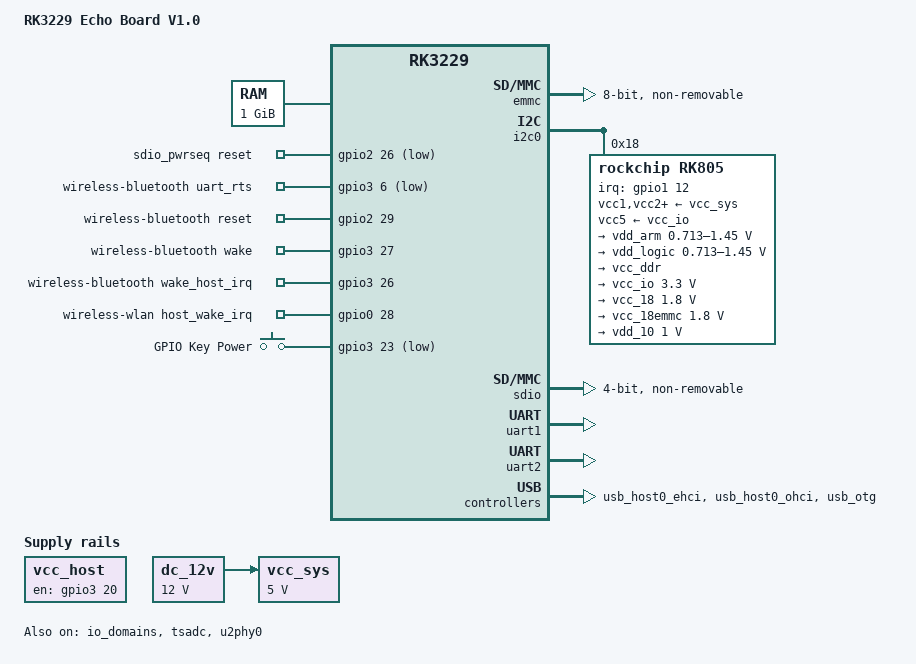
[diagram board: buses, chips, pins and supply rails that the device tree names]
/*
 * Copyright (c) 2017 Fuzhou Rockchip Electronics Co., Ltd
 *
 * This file is dual-licensed: you can use it either under the terms
 * of the GPL or the X11 license, at your option. Note that this dual
 * licensing only applies to this file, and not this project as a
 * whole.
 *
 *  a) This file is free software; you can redistribute it and/or
 *     modify it under the terms of the GNU General Public License as
 *     published by the Free Software Foundation; either version 2 of the
 *     License, or (at your option) any later version.
 *
 *     This file is distributed in the hope that it will be useful,
 *     but WITHOUT ANY WARRANTY; without even the implied warranty of
 *     MERCHANTABILITY or FITNESS FOR A PARTICULAR PURPOSE.  See the
 *     GNU General Public License for more details.
 *
 *  Or, alternatively,
 *
 *  b) Permission is hereby granted, free of charge, to any person
 *     obtaining a copy of this software and associated documentation
 *     files (the "Software"), to deal in the Software without
 *     restriction, including without limitation the rights to use,
 *     copy, modify, merge, publish, distribute, sublicense, and/or
 *     sell copies of the Software, and to permit persons to whom the
 *     Software is furnished to do so, subject to the following
 *     conditions:
 *
 *     The above copyright notice and this permission notice shall be
 *     included in all copies or substantial portions of the Software.
 *
 *     THE SOFTWARE IS PROVIDED "AS IS", WITHOUT WARRANTY OF ANY KIND,
 *     EXPRESS OR IMPLIED, INCLUDING BUT NOT LIMITED TO THE WARRANTIES
 *     OF MERCHANTABILITY, FITNESS FOR A PARTICULAR PURPOSE AND
 *     NONINFRINGEMENT. IN NO EVENT SHALL THE AUTHORS OR COPYRIGHT
 *     HOLDERS BE LIABLE FOR ANY CLAIM, DAMAGES OR OTHER LIABILITY,
 *     WHETHER IN AN ACTION OF CONTRACT, TORT OR OTHERWISE, ARISING
 *     FROM, OUT OF OR IN CONNECTION WITH THE SOFTWARE OR THE USE OR
 *     OTHER DEALINGS IN THE SOFTWARE.
 */

/dts-v1/;

#include "rk3229.dtsi"

/ {
	model = "RK3229 Echo Board V1.0";
	compatible = "rockchip,rk3229-echo", "rockchip,rk3229";

	chosen {
		bootargs = "earlycon=uart8250,mmio32,0x11030000";
	};

	memory@60000000 {
		device_type = "memory";
		reg = <0x60000000 0x40000000>;
	};

	psci {
		compatible = "arm,psci-1.0";
		method = "smc";
	};

	sdio_pwrseq: sdio-pwrseq {
		compatible = "mmc-pwrseq-simple";
		clocks = <&rk805 1>;
		clock-names = "ext_clock";
		pinctrl-names = "default";
		pinctrl-0 = <&wifi_enable_h>;

		/*
		 * On the module itself this is one of these (depending
		 * on the actual card populated):
		 * - SDIO_RESET_L_WL_REG_ON
		 * - PDN (power down when low)
		 */
		reset-gpios = <&gpio2 26 GPIO_ACTIVE_LOW>; /* GPIO2_D2 */
	};

	vcc_host: vcc-host-regulator {
		compatible = "regulator-fixed";
		enable-active-high;
		gpio = <&gpio3 20 GPIO_ACTIVE_HIGH>;
		pinctrl-names = "default";
		pinctrl-0 = <&host_vbus_drv>;
		regulator-name = "vcc_host";
		regulator-always-on;
		regulator-boot-on;
	};

	wireless-bluetooth {
		compatible = "bluetooth-platdata";
		clocks = <&rk805 1>;
		clock-names = "ext_clock";
		uart_rts_gpios = <&gpio3 6 GPIO_ACTIVE_LOW>;
		pinctrl-names = "default", "rts_gpio";
		pinctrl-0 = <&uart11_rts>;
		pinctrl-1 = <&uart11_rts_gpio>;
		BT,reset_gpio    = <&gpio2 29 GPIO_ACTIVE_HIGH>;
		BT,wake_gpio     = <&gpio3 27 GPIO_ACTIVE_HIGH>;
		BT,wake_host_irq = <&gpio3 26 GPIO_ACTIVE_HIGH>;
		status = "okay";
	};

	wireless-wlan {
		compatible = "wlan-platdata";
		rockchip,grf = <&grf>;
		wifi_chip_type = "ap6335";
		sdio_vref = <3300>;
		WIFI,host_wake_irq = <&gpio0 28 GPIO_ACTIVE_HIGH>;
		status = "okay";
	};

	gpio_keys {
		compatible = "gpio-keys";
		#address-cells = <1>;
		#size-cells = <0>;
		autorepeat;

		pinctrl-names = "default";
		pinctrl-0 = <&pwr_key>;

		power_key: power-key {
			label = "GPIO Key Power";
			gpios = <&gpio3 23 GPIO_ACTIVE_LOW>;
			linux,code = <116>;
			debounce-interval = <100>;
			wakeup-source;
		};
	};

	dc_12v: dc-12v {
		compatible = "regulator-fixed";
		regulator-name = "dc_12v";
		regulator-always-on;
		regulator-boot-on;
		regulator-min-microvolt = <12000000>;
		regulator-max-microvolt = <12000000>;
	};

	vcc_sys: vcc-sys {
		compatible = "regulator-fixed";
		regulator-name = "vcc_sys";
		regulator-always-on;
		regulator-boot-on;
		regulator-min-microvolt = <5000000>;
		regulator-max-microvolt = <5000000>;
		vin-supply = <&dc_12v>;
	};
};

&cpu0 {
	cpu-supply = <&vdd_arm>;
	enable-method = "psci";
};

&cpu1 {
	enable-method = "psci";
};

&cpu2 {
	enable-method = "psci";
};

&cpu3 {
	enable-method = "psci";
};

&emmc {
	broken-cd;
	bus-width = <8>;
	cap-mmc-highspeed;
	supports-emmc;
	disable-wp;
	non-removable;
	num-slots = <1>;
	/delete-property/ default-sample-phase;
	/delete-property/ pinctrl-names;
	/delete-property/ pinctrl-0;
	status = "okay";
};

&i2c0 {
	status = "okay";

	rk805: rk805@18 {
		compatible = "rockchip,rk805";
		reg = <0x18>;
		interrupt-parent = <&gpio1>;
		interrupts = <12 IRQ_TYPE_LEVEL_LOW>;
		pinctrl-names = "default";
		pinctrl-0 = <&pmic_int_l>;
		rockchip,system-power-controller;
		wakeup-source;
		gpio-controller;
		#gpio-cells = <2>;
		#clock-cells = <1>;
		clock-output-names = "xin32k", "rk805-clkout2";

		vcc1-supply = <&vcc_sys>;
		vcc2-supply = <&vcc_sys>;
		vcc3-supply = <&vcc_sys>;
		vcc4-supply = <&vcc_sys>;
		vcc5-supply = <&vcc_io>;
		vcc6-supply = <&vcc_sys>;

		regulators {
			vdd_arm: DCDC_REG1 {
				regulator-name = "vdd_arm";
				regulator-min-microvolt = <712500>;
				regulator-max-microvolt = <1450000>;
				regulator-boot-on;
				regulator-always-on;
				regulator-state-mem {
					regulator-on-in-suspend;
					regulator-suspend-microvolt = <950000>;
				};
			};

			vdd_logic: DCDC_REG2 {
				regulator-name = "vdd_logic";
				regulator-min-microvolt = <712500>;
				regulator-max-microvolt = <1450000>;
				regulator-boot-on;
				regulator-always-on;
				regulator-state-mem {
					regulator-on-in-suspend;
					regulator-suspend-microvolt = <1000000>;
				};
			};

			vcc_ddr: DCDC_REG3 {
				regulator-name = "vcc_ddr";
				regulator-boot-on;
				regulator-always-on;
				regulator-state-mem {
					regulator-on-in-suspend;
				};
			};

			vcc_io: DCDC_REG4 {
				regulator-name = "vcc_io";
				regulator-min-microvolt = <3300000>;
				regulator-max-microvolt = <3300000>;
				regulator-boot-on;
				regulator-always-on;
				regulator-state-mem {
					regulator-on-in-suspend;
					regulator-suspend-microvolt = <3300000>;
				};
			};

			vcc_18: LDO_REG1 {
				regulator-name = "vcc_18";
				regulator-min-microvolt = <1800000>;
				regulator-max-microvolt = <1800000>;
				regulator-boot-on;
				regulator-always-on;
				regulator-state-mem {
					regulator-on-in-suspend;
					regulator-suspend-microvolt = <1800000>;
				};
			};

			vcc_18emmc: LDO_REG2 {
				regulator-name = "vcc_18emmc";
				regulator-min-microvolt = <1800000>;
				regulator-max-microvolt = <1800000>;
				regulator-boot-on;
				regulator-always-on;
				regulator-state-mem {
					regulator-on-in-suspend;
					regulator-suspend-microvolt = <1800000>;
				};
			};

			vdd_10: LDO_REG3 {
				regulator-name = "vdd_10";
				regulator-min-microvolt = <1000000>;
				regulator-max-microvolt = <1000000>;
				regulator-boot-on;
				regulator-always-on;
				regulator-state-mem {
					regulator-on-in-suspend;
					regulator-suspend-microvolt = <1000000>;
				};
			};
		};
	};
};

&io_domains {
	status = "okay";

	vccio1-supply = <&vcc_io>;
	vccio2-supply = <&vcc_io>;
	vccio4-supply = <&vcc_io>;
};

&pinctrl {
	pmic {
		pmic_int_l: pmic-int-l {
			rockchip,pins = <1 12 RK_FUNC_GPIO &pcfg_pull_up>; /* gpio1_b4 */
		};
	};

	sdio-pwrseq {
		wifi_enable_h: wifi-enable-h {
			rockchip,pins = <2 26 RK_FUNC_GPIO &pcfg_pull_none>;
		};
	};

	usb {
		host_vbus_drv: host-vbus-drv {
			rockchip,pins = <3 20 RK_FUNC_GPIO &pcfg_pull_none>;
		};
	};

	keys {
		pwr_key: pwr-key {
			rockchip,pins = <3 23 RK_FUNC_GPIO &pcfg_pull_up>;
		};
	};
};

&rockchip_suspend {
	status = "okay";
};

&sdio {
	bus-width = <4>;
	cap-mmc-highspeed;
	cap-sd-highspeed;
	cap-sdio-irq;
	non-removable;
	ignore-pm-notify;
	keep-power-in-suspend;
	max-frequency = <150000000>;
	supports-sdio;
	mmc-pwrseq = <&sdio_pwrseq>;
	assigned-clocks = <&cru SCLK_SDIO_SRC>;
	assigned-clock-parents = <&xin24m>;
	status = "okay";
};

&tsadc {
	rockchip,hw-tshut-mode = <0>; /* tshut mode 0:CRU 1:GPIO */
	status = "okay";
};

&u2phy0 {
	otg-vbus-gpios = <&gpio3 RK_PC6 GPIO_ACTIVE_HIGH>;
	status = "okay";

	u2phy0_otg: otg-port {
		status = "okay";
	};

	u2phy0_host: host-port {
		phy-supply = <&vcc_host>;
		status = "okay";
	};
};

&uart1 {
	pinctrl-names = "default";
	pinctrl-0 = <&uart11_xfer &uart11_cts>;
	status = "okay";
};

&uart2 {
	pinctrl-0 = <&uart21_xfer>;
	status = "okay";
};

&usb_host0_ehci {
	status = "okay";
};

&usb_host0_ohci {
	status = "okay";
};

&usb_otg {
	status = "okay";
};
